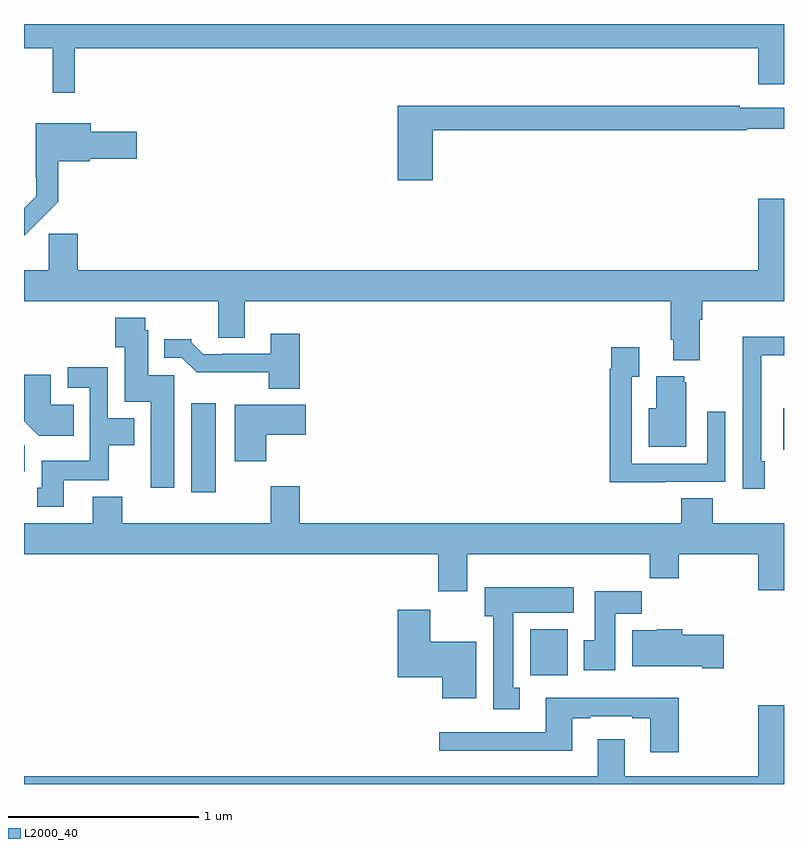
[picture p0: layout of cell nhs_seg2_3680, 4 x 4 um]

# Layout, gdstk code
import gdstk
lib = gdstk.Library(unit=1e-6, precision=1e-09)
def R(c, l, rs):  # rectangles x0, y0, x1, y1
    for r in rs: c.add(gdstk.rectangle(r[:2], r[2:], *l))
def P(c, l, *ps):  # polygons
    for p in ps: c.add(gdstk.Polygon(p, *l))
L2000_40 = (2000, 40)

nhs_seg2_3680 = lib.new_cell('nhs_seg2_3680')
R(nhs_seg2_3680, L2000_40, [(307.664,608.372,307.861,608.614), (305.879,609.336,306.01,609.805), (305,609.446,305.005,609.584), (308.996,609.559,309,609.778)])
P(nhs_seg2_3680, L2000_40, [(305.267,611.672),(308.864,611.672),(308.864,611.484),(309,611.484),(309,611.8),(305,611.8),(305,611.672),(305.15,611.672),(305.15,611.439),(305.267,611.439)],
  [(307.151,611.242),(308.804,611.242),(308.804,611.25),(309,611.25),(309,611.358),(308.768,611.358),(308.768,611.371),(306.968,611.371),(306.968,610.977),(307.151,610.977)],
  [(305.18,610.865),(305.18,611.077),(305.346,611.077),(305.346,611.09),(305.593,611.09),(305.593,611.232),(305.35,611.232),(305.35,611.278),(305.061,611.278),(305.061,610.993),(305.064,610.993),(305.064,610.893),(305,610.829),(305,610.686)],
  [(308.557,610.244),(308.57,610.244),(308.57,610.34),(309,610.34),(309,610.879),(308.864,610.879),(308.864,610.504),(305.282,610.504),(305.282,610.695),(305.131,610.695),(305.131,610.504),(305,610.504),(305,610.34),(306.023,610.34),(306.023,610.15),(306.163,610.15),(306.163,610.34),(308.405,610.34),(308.405,610.138),(308.417,610.138),(308.417,610.031),(308.557,610.031)],
  [(305.791,609.951),(305.653,609.951),(305.653,610.188),(305.637,610.188),(305.637,610.255),(305.48,610.255),(305.48,610.099),(305.531,610.099),(305.531,609.812),(305.666,609.812),(305.666,609.36),(305.791,609.36)],
  [(306.452,610.171),(306.299,610.171),(306.299,610.065),(306.043,610.065),(306.043,610.062),(305.944,610.062),(305.88,610.126),(305.88,610.141),(305.738,610.141),(305.738,610.044),(305.829,610.044),(305.908,609.966),(306.287,609.966),(306.287,609.881),(306.452,609.881)],
  [(308.899,609.498),(308.88,609.498),(308.88,610.056),(309,610.056),(309,610.154),(308.782,610.154),(308.782,609.847),(308.784,609.847),(308.784,609.354),(308.899,609.354)],
  [(308.375,609.39),(308.691,609.39),(308.691,609.76),(308.595,609.76),(308.595,609.486),(308.199,609.486),(308.199,609.943),(308.239,609.943),(308.239,610.099),(308.091,610.099),(308.091,609.986),(308.083,609.986),(308.083,609.389),(308.375,609.389)],
  [(305.209,609.398),(305.445,609.398),(305.445,609.584),(305.581,609.584),(305.581,609.724),(305.442,609.724),(305.442,609.994),(305.229,609.994),(305.229,609.885),(305.346,609.885),(305.346,609.502),(305.093,609.502),(305.093,609.36),(305.069,609.36),(305.069,609.258),(305.209,609.258)],
  [(305.261,609.796),(305.14,609.796),(305.14,609.953),(305,609.953),(305,609.71),(305.078,609.632),(305.261,609.632)],
  [(308.485,609.915),(308.474,609.915),(308.474,609.946),(308.327,609.946),(308.327,609.778),(308.288,609.778),(308.288,609.575),(308.485,609.575)],
  [(306.274,609.638),(306.484,609.638),(306.484,609.796),(306.11,609.796),(306.11,609.498),(306.274,609.498)],
  [(307.333,609.008),(308.293,609.008),(308.293,608.884),(308.445,608.884),(308.445,609.008),(308.864,609.008),(308.864,608.82),(309,608.82),(309,609.172),(308.624,609.172),(308.624,609.305),(308.459,609.305),(308.459,609.172),(306.452,609.172),(306.452,609.367),(306.299,609.367),(306.299,609.172),(305.516,609.172),(305.516,609.313),(305.363,609.313),(305.363,609.172),(305,609.172),(305,609.008),(307.181,609.008),(307.181,608.814),(307.333,608.814)],
  [(307.609,608.306),(307.576,608.306),(307.576,608.702),(307.894,608.702),(307.894,608.836),(307.424,608.836),(307.424,608.682),(307.469,608.682),(307.469,608.193),(307.609,608.193)],
  [(308.113,608.696),(308.252,608.696),(308.252,608.815),(308.003,608.815),(308.003,608.556),(307.946,608.556),(307.946,608.4),(308.113,608.4)],
  [(307.381,608.548),(307.138,608.548),(307.138,608.716),(306.968,608.716),(306.968,608.363),(307.202,608.363),(307.202,608.252),(307.381,608.252)],
  [(308.683,608.586),(308.465,608.586),(308.465,608.614),(308.334,608.614),(308.334,608.608),(308.201,608.608),(308.201,608.42),(308.57,608.42),(308.57,608.408),(308.683,608.408)],
  [(308.445,608.254),(307.745,608.254),(307.745,608.073),(307.185,608.073),(307.185,607.976),(307.885,607.976),(307.885,608.145),(307.981,608.145),(307.981,608.157),(308.201,608.157),(308.201,608.145),(308.297,608.145),(308.297,607.968),(308.445,607.968)],
  [(309,608.215),(308.864,608.215),(308.864,607.84),(308.161,607.84),(308.161,608.035),(308.021,608.035),(308.021,607.84),(305,607.84),(305,607.8),(309,607.8)])

lib.write_gds('nhs_seg2_3680.gds')
